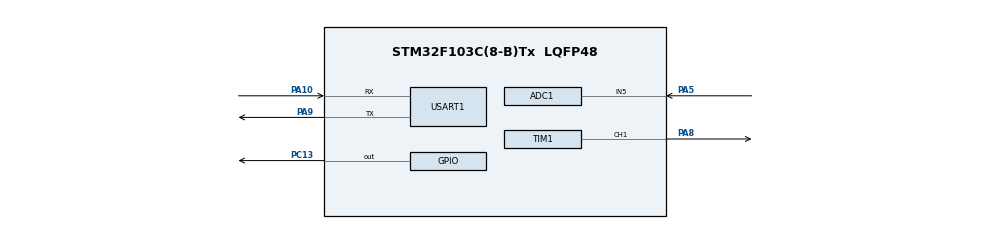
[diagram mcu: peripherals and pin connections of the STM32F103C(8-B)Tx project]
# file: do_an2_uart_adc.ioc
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ADC1.Channel-0\#ChannelRegularConversion=ADC_CHANNEL_5
ADC1.NbrOfConversion=1
ADC1.NbrOfConversionFlag=1
ADC1.Rank-0\#ChannelRegularConversion=1
ADC1.SamplingTime-0\#ChannelRegularConversion=ADC_SAMPLETIME_1CYCLE_5
ADC1.master=1
Mcu.Family=STM32F1
Mcu.Name=STM32F103C(8-B)Tx
Mcu.Package=LQFP48
NVIC.PriorityGroup=NVIC_PRIORITYGROUP_4
PA10.Mode=Asynchronous
PA10.Signal=USART1_RX
PA5.Signal=ADCx_IN5
PA8.Signal=S_TIM1_CH1
PA9.Mode=Asynchronous
PA9.Signal=USART1_TX
PC13-TAMPER-RTC.Signal=GPIO_Output
ProjectManager.HeapSize=0x200
ProjectManager.StackSize=0x400
ProjectManager.TargetToolchain=STM32CubeIDE
RCC.APB1Freq_Value=8000000
RCC.APB2Freq_Value=8000000
SH.ADCx_IN5.0=ADC1_IN5,IN5
SH.S_TIM1_CH1.0=TIM1_CH1,PWM Generation1 CH1
TIM1.Channel-PWM\ Generation1\ CH1=TIM_CHANNEL_1
TIM1.Period=999
TIM1.Prescaler=79
USART1.VirtualMode=VM_ASYNC
VP_TIM1_VS_ClockSourceINT.Mode=Internal
board=custom

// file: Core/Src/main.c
/* USER CODE BEGIN Header */
/**
  ******************************************************************************
  * @file           : main.c
  * @brief          : Main program body
  ******************************************************************************
  * @attention
  *
  * Copyright (c) 2023 STMicroelectronics.
  * All rights reserved.
  *
  * This software is licensed under terms that can be found in the LICENSE file
  * in the root directory of this software component.
  * If no LICENSE file comes with this software, it is provided AS-IS.
  *
  ******************************************************************************
  */
/* USER CODE END Header */
#include "main.h"
#include <string.h>
#include <stdio.h>

ADC_HandleTypeDef hadc1;

TIM_HandleTypeDef htim1;

UART_HandleTypeDef huart1;

void SystemClock_Config(void);
static void MX_GPIO_Init(void);
static void MX_ADC1_Init(void);
static void MX_USART1_UART_Init(void);
static void MX_TIM1_Init(void);

/* USER CODE BEGIN 0 */
#define DIMING_QUANG_TRO 1
/* USER CODE END 0 */

int main(void)
{

  /* MCU Configuration--------------------------------------------------------*/

  /* Reset of all peripherals, Initializes the Flash interface and the Systick. */
  HAL_Init();

  /* Configure the system clock */
  SystemClock_Config();

  /* Initialize all configured peripherals */
  MX_GPIO_Init();
  MX_ADC1_Init();
  MX_USART1_UART_Init();
  MX_TIM1_Init();
  /* USER CODE BEGIN 2 */
//  uint8_t data[] = "0vokhacnam";
  uint8_t count  = 0;
  uint8_t buffer[20]= "gia tri ADC la:";
  char val_ADC[20];
  uint32_t var,value_PWM=0 ;
  HAL_TIM_PWM_Start(&htim1, TIM_CHANNEL_1);
  /* USER CODE END 2 */

  /* Infinite loop */
  /* USER CODE BEGIN WHILE */
  while (1)
  {
	  HAL_ADC_Start(&hadc1);
	  HAL_Delay(50);
	  var = HAL_ADC_GetValue(&hadc1);
	  HAL_ADC_Stop(&hadc1);

//	  HAL_UART_Transmit(&huart1, data,sizeof(data), 10);
	  sprintf(val_ADC, "%lu",var);
	  HAL_UART_Transmit(&huart1, buffer,strlen((const char*)buffer),10);
	  HAL_UART_Transmit(&huart1, (uint8_t*)val_ADC,strlen((const char*)val_ADC),10);
	  if(DIMING_QUANG_TRO){
		  if(var >= 1500){
			  __HAL_TIM_SET_COMPARE(&htim1,TIM_CHANNEL_1,0);
		  }
		  if((var >= 1200) && (var <1500)){
			  __HAL_TIM_SET_COMPARE(&htim1,TIM_CHANNEL_1,250);
		  }
		  if((var >= 900) && (var <1200)){
			  __HAL_TIM_SET_COMPARE(&htim1,TIM_CHANNEL_1,500);
		  }
		  if((var >= 600) && (var <900)){
			  __HAL_TIM_SET_COMPARE(&htim1,TIM_CHANNEL_1,750);
		  }
		  if((var >= 0) && (var <600)){
			  __HAL_TIM_SET_COMPARE(&htim1,TIM_CHANNEL_1,999);
		  }

  	  }else{

  	  }
	  count++;
	  HAL_Delay(3000);
    /* USER CODE END WHILE */

  }
}

void SystemClock_Config(void)
{
  RCC_OscInitTypeDef RCC_OscInitStruct = {0};
  RCC_ClkInitTypeDef RCC_ClkInitStruct = {0};
  RCC_PeriphCLKInitTypeDef PeriphClkInit = {0};

  /** Initializes the RCC Oscillators according to the specified parameters
  * in the RCC_OscInitTypeDef structure.
  */
  RCC_OscInitStruct.OscillatorType = RCC_OSCILLATORTYPE_HSI;
  RCC_OscInitStruct.HSIState = RCC_HSI_ON;
  RCC_OscInitStruct.HSICalibrationValue = RCC_HSICALIBRATION_DEFAULT;
  RCC_OscInitStruct.PLL.PLLState = RCC_PLL_NONE;
  if (HAL_RCC_OscConfig(&RCC_OscInitStruct) != HAL_OK)
  {
    Error_Handler();
  }

  /** Initializes the CPU, AHB and APB buses clocks
  */
  RCC_ClkInitStruct.ClockType = RCC_CLOCKTYPE_HCLK|RCC_CLOCKTYPE_SYSCLK
                              |RCC_CLOCKTYPE_PCLK1|RCC_CLOCKTYPE_PCLK2;
  RCC_ClkInitStruct.SYSCLKSource = RCC_SYSCLKSOURCE_HSI;
  RCC_ClkInitStruct.AHBCLKDivider = RCC_SYSCLK_DIV1;
  RCC_ClkInitStruct.APB1CLKDivider = RCC_HCLK_DIV1;
  RCC_ClkInitStruct.APB2CLKDivider = RCC_HCLK_DIV1;

  if (HAL_RCC_ClockConfig(&RCC_ClkInitStruct, FLASH_LATENCY_0) != HAL_OK)
  {
    Error_Handler();
  }
  PeriphClkInit.PeriphClockSelection = RCC_PERIPHCLK_ADC;
  PeriphClkInit.AdcClockSelection = RCC_ADCPCLK2_DIV2;
  if (HAL_RCCEx_PeriphCLKConfig(&PeriphClkInit) != HAL_OK)
  {
    Error_Handler();
  }
}

static void MX_ADC1_Init(void)
{

  ADC_ChannelConfTypeDef sConfig = {0};

  /** Common config
  */
  hadc1.Instance = ADC1;
  hadc1.Init.ScanConvMode = ADC_SCAN_DISABLE;
  hadc1.Init.ContinuousConvMode = DISABLE;
  hadc1.Init.DiscontinuousConvMode = DISABLE;
  hadc1.Init.ExternalTrigConv = ADC_SOFTWARE_START;
  hadc1.Init.DataAlign = ADC_DATAALIGN_RIGHT;
  hadc1.Init.NbrOfConversion = 1;
  if (HAL_ADC_Init(&hadc1) != HAL_OK)
  {
    Error_Handler();
  }

  /** Configure Regular Channel
  */
  sConfig.Channel = ADC_CHANNEL_5;
  sConfig.Rank = ADC_REGULAR_RANK_1;
  sConfig.SamplingTime = ADC_SAMPLETIME_1CYCLE_5;
  if (HAL_ADC_ConfigChannel(&hadc1, &sConfig) != HAL_OK)
  {
    Error_Handler();
  }

}

static void MX_TIM1_Init(void)
{

  TIM_ClockConfigTypeDef sClockSourceConfig = {0};
  TIM_MasterConfigTypeDef sMasterConfig = {0};
  TIM_OC_InitTypeDef sConfigOC = {0};
  TIM_BreakDeadTimeConfigTypeDef sBreakDeadTimeConfig = {0};

  htim1.Instance = TIM1;
  htim1.Init.Prescaler = 79;
  htim1.Init.CounterMode = TIM_COUNTERMODE_UP;
  htim1.Init.Period = 999;
  htim1.Init.ClockDivision = TIM_CLOCKDIVISION_DIV1;
  htim1.Init.RepetitionCounter = 0;
  htim1.Init.AutoReloadPreload = TIM_AUTORELOAD_PRELOAD_DISABLE;
  if (HAL_TIM_Base_Init(&htim1) != HAL_OK)
  {
    Error_Handler();
  }
  sClockSourceConfig.ClockSource = TIM_CLOCKSOURCE_INTERNAL;
  if (HAL_TIM_ConfigClockSource(&htim1, &sClockSourceConfig) != HAL_OK)
  {
    Error_Handler();
  }
  if (HAL_TIM_PWM_Init(&htim1) != HAL_OK)
  {
    Error_Handler();
  }
  sMasterConfig.MasterOutputTrigger = TIM_TRGO_RESET;
  sMasterConfig.MasterSlaveMode = TIM_MASTERSLAVEMODE_DISABLE;
  if (HAL_TIMEx_MasterConfigSynchronization(&htim1, &sMasterConfig) != HAL_OK)
  {
    Error_Handler();
  }
  sConfigOC.OCMode = TIM_OCMODE_PWM1;
  sConfigOC.Pulse = 0;
  sConfigOC.OCPolarity = TIM_OCPOLARITY_HIGH;
  sConfigOC.OCNPolarity = TIM_OCNPOLARITY_HIGH;
  sConfigOC.OCFastMode = TIM_OCFAST_DISABLE;
  sConfigOC.OCIdleState = TIM_OCIDLESTATE_RESET;
  sConfigOC.OCNIdleState = TIM_OCNIDLESTATE_RESET;
  if (HAL_TIM_PWM_ConfigChannel(&htim1, &sConfigOC, TIM_CHANNEL_1) != HAL_OK)
  {
    Error_Handler();
  }
  sBreakDeadTimeConfig.OffStateRunMode = TIM_OSSR_DISABLE;
  sBreakDeadTimeConfig.OffStateIDLEMode = TIM_OSSI_DISABLE;
  sBreakDeadTimeConfig.LockLevel = TIM_LOCKLEVEL_OFF;
  sBreakDeadTimeConfig.DeadTime = 0;
  sBreakDeadTimeConfig.BreakState = TIM_BREAK_DISABLE;
  sBreakDeadTimeConfig.BreakPolarity = TIM_BREAKPOLARITY_HIGH;
  sBreakDeadTimeConfig.AutomaticOutput = TIM_AUTOMATICOUTPUT_DISABLE;
  if (HAL_TIMEx_ConfigBreakDeadTime(&htim1, &sBreakDeadTimeConfig) != HAL_OK)
  {
    Error_Handler();
  }
  HAL_TIM_MspPostInit(&htim1);

}

static void MX_USART1_UART_Init(void)
{

  huart1.Instance = USART1;
  huart1.Init.BaudRate = 115200;
  huart1.Init.WordLength = UART_WORDLENGTH_8B;
  huart1.Init.StopBits = UART_STOPBITS_1;
  huart1.Init.Parity = UART_PARITY_NONE;
  huart1.Init.Mode = UART_MODE_TX_RX;
  huart1.Init.HwFlowCtl = UART_HWCONTROL_NONE;
  huart1.Init.OverSampling = UART_OVERSAMPLING_16;
  if (HAL_UART_Init(&huart1) != HAL_OK)
  {
    Error_Handler();
  }

}

static void MX_GPIO_Init(void)
{
  GPIO_InitTypeDef GPIO_InitStruct = {0};

  /* GPIO Ports Clock Enable */
  __HAL_RCC_GPIOC_CLK_ENABLE();
  __HAL_RCC_GPIOA_CLK_ENABLE();

  /*Configure GPIO pin Output Level */
  HAL_GPIO_WritePin(GPIOC, GPIO_PIN_13, GPIO_PIN_RESET);

  /*Configure GPIO pin : PC13 */
  GPIO_InitStruct.Pin = GPIO_PIN_13;
  GPIO_InitStruct.Mode = GPIO_MODE_OUTPUT_PP;
  GPIO_InitStruct.Pull = GPIO_NOPULL;
  GPIO_InitStruct.Speed = GPIO_SPEED_FREQ_LOW;
  HAL_GPIO_Init(GPIOC, &GPIO_InitStruct);

}

void Error_Handler(void)
{
  __disable_irq();
  while (1)
  {
  }
}
